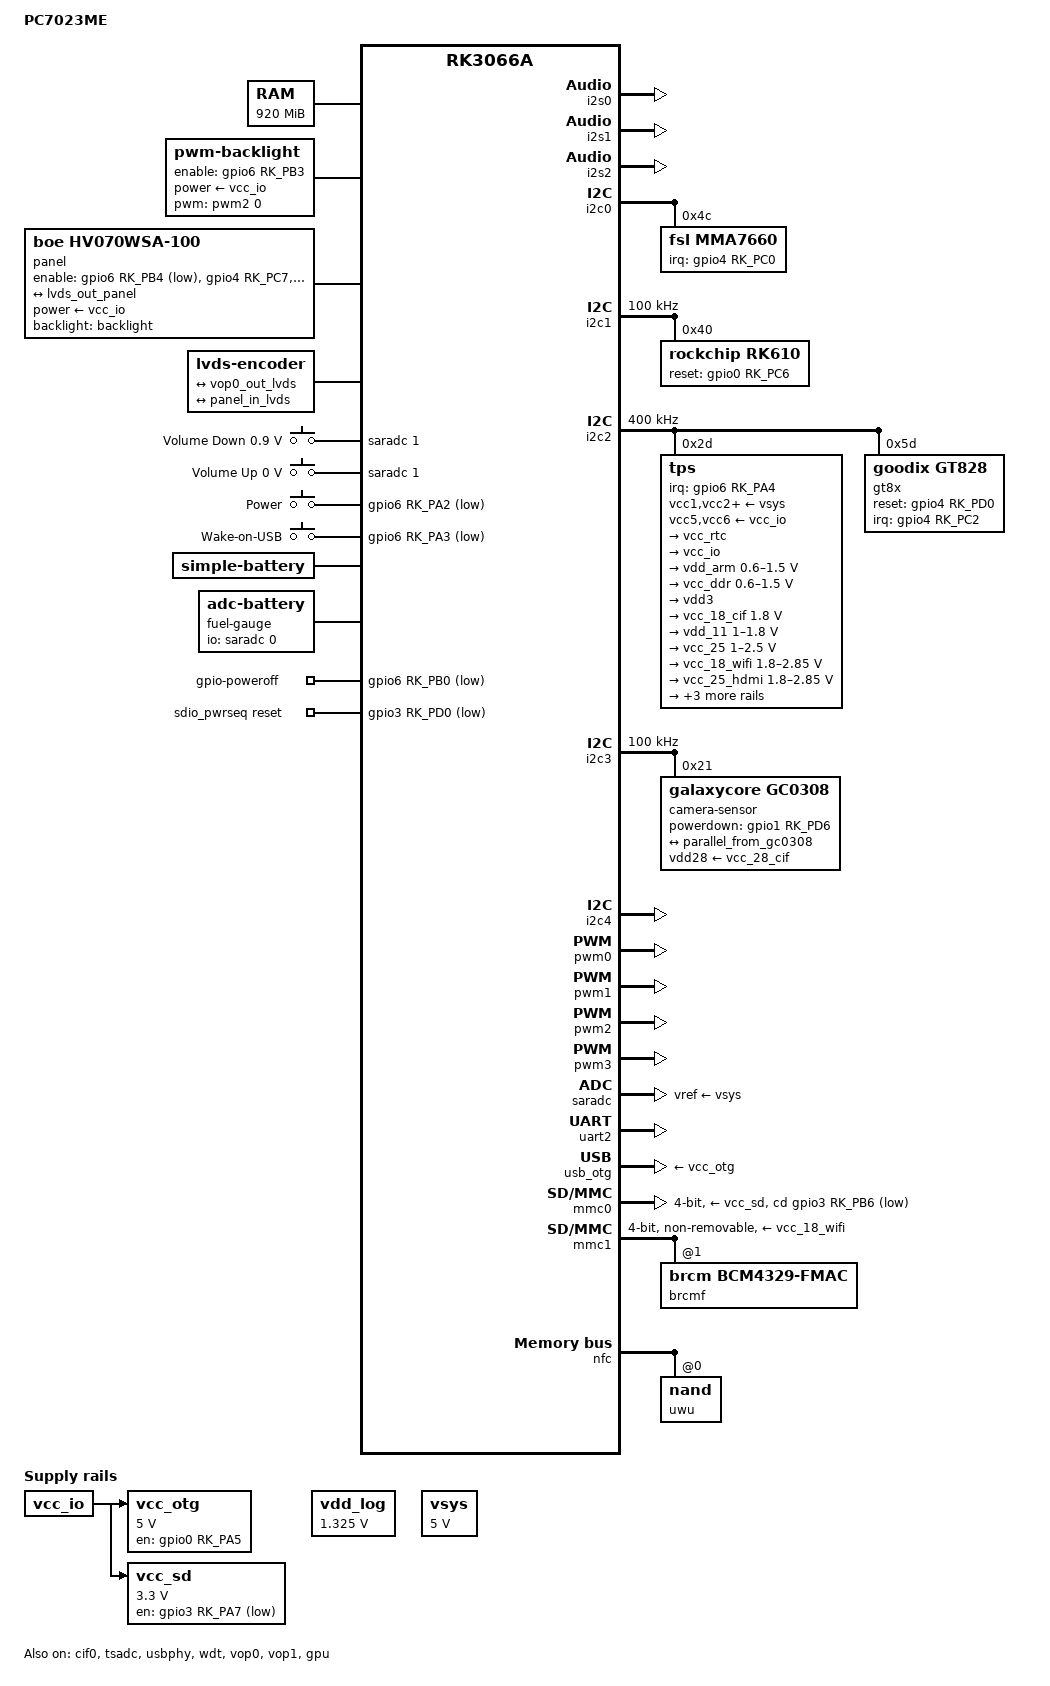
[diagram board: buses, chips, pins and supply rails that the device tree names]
// SPDX-License-Identifier: (GPL-2.0+ OR MIT)
/*
 * Copyright (c) 2024 Val Packett <val@packett.cool>
 */

/dts-v1/;
#include <dt-bindings/input/input.h>
#include <dt-bindings/gpio/gpio.h>
#include <dt-bindings/media/video-interfaces.h>
#include "rk3066a.dtsi"

/ {
	model = "PC7023ME";
	compatible = "kintech,pc7023me", "rockchip,rk3066a";
	chassis-type = "tablet";

	aliases {
		mmc0 = &mmc0;
		mmc1 = &mmc1;
	};

	memory@60000000 {
		device_type = "memory";
		// reg = <0x60000000 0x40000000>;
		reg = <0x60000000 0x39800000>;
		// reg = <0x60000000 0x39000000>;
	};

	// reserved-memory {
	// 	#address-cells = <1>;
	// 	#size-cells = <1>;
	// 	ranges;

	// 	blackhole@8f000000 {
	// 		reg = <0x8f000000 0x7800000>;
	// 		no-map;
	// 	};
	// };

	vdd_log: vdd-log {
		compatible = "pwm-regulator";
		pwms = <&pwm3 0 1000>;
		regulator-name = "vdd_log";
		regulator-always-on;
		regulator-min-microvolt = <1325000>;
		regulator-max-microvolt = <1325000>;
		voltage-table = <1000000 100>, <1200000 42>, <1250000 31>, <1300000 21>, <1325000 15>;
		//100*(1400-vol)/476
		// regulator-min-microvolt = <950000>; or 100 in android
		// regulator-max-microvolt = <1400000>;
		// pwm-dutycycle-unit = <1000>;
		// pwm-dutycycle-range = <945 0>;
		status = "okay";
	};

	// WORKS
	backlight: backlight {
		compatible = "pwm-backlight";
		power-supply = <&vcc_io>; // i guess?
		pwms = <&pwm2 0 25000>;
		enable-gpios = <&gpio6 RK_PB3 GPIO_ACTIVE_HIGH>;
		pinctrl-names = "default";
		pinctrl-0 = <&backlight_en>;
	};

	// WORKS
	panel: panel {
		compatible = "boe,hv070wsa-100";
		backlight = <&backlight>;
		power-supply = <&vcc_io>; // i guess?
		enable-gpios =
			<&gpio6 RK_PB4 GPIO_ACTIVE_LOW>,
			<&gpio4 RK_PC7 GPIO_ACTIVE_HIGH>,
			<&gpio2 RK_PC6 GPIO_ACTIVE_HIGH>;
		pinctrl-names = "default";
		pinctrl-0 = <&lcd_en &lcd_cs &lcd_stb>;
		data-mapping = "vesa-24"; // w/e
		port {
			panel_in_lvds: endpoint {
				remote-endpoint = <&lvds_out_panel>;
			};
		};
	};

	lvds-encoder {
		compatible = "lvds-encoder";

		ports {
			#address-cells = <1>;
			#size-cells = <0>;

			port@0 {
				reg = <0>;

				lvds_in_vop0: endpoint {
					remote-endpoint = <&vop0_out_lvds>;
				};
			};

			port@1 {
				reg = <1>;

				lvds_out_panel: endpoint {
					remote-endpoint = <&panel_in_lvds>;
				};
			};
		};
	};

	// WORKS
	adc-keys {
		compatible = "adc-keys";
		io-channels = <&saradc 1>;
		io-channel-names = "buttons";
		keyup-threshold-microvolt = <2500000>;
		poll-interval = <100>;

		key-volume-down {
			label = "Volume Down";
			linux,code = <KEY_VOLUMEDOWN>;
			press-threshold-microvolt = <900000>;
		};

		key-volume-up {
			label = "Volume Up";
			linux,code = <KEY_VOLUMEUP>;
			press-threshold-microvolt = <0>;
		};
	};

	// WORKS
	gpio-keys {
		compatible = "gpio-keys";

		key-power {
			gpios = <&gpio6 RK_PA2 GPIO_ACTIVE_LOW>;
			label = "Power";
			linux,code = <KEY_POWER>;
			pinctrl-names = "default";
			pinctrl-0 = <&pwr_key>;
			wakeup-source;
		};

		wake_on_usb: key-wake-on-usb {
			label = "Wake-on-USB";
			gpios = <&gpio6 RK_PA3 GPIO_ACTIVE_LOW>;
			linux,code = <KEY_WAKEUP>;
			wakeup-source;
		};
	};

	battery: battery {
		compatible = "simple-battery";
		device-chemistry = "lithium-ion";
		charge-full-design-microamp-hours = <2500000>;
		voltage-max-design-microvolt = <4150000>;
		voltage-min-design-microvolt = <3380000>;
	};

	fuel-gauge {
		compatible = "adc-battery";
		// charged-gpios = <&gpio6 RK_PA6 GPIO_ACTIVE_HIGH>; // 300k interrupts..
		io-channel-names = "voltage";
		io-channels = <&saradc 0>;
		monitored-battery = <&battery>;
		// pinctrl-names = "default";
		// pinctrl-0 = <&charged_detect>;
		// power-supplies = <&>;
	};

	// charger {
	// 	compatible = "gpio-charger";
	// 	charger-type = "usb-sdp";
	// 	gpios = <&gpio6 RK_PA5 GPIO_ACTIVE_LOW>;
	// 	// gpios = <&gpio6 RK_PA3 GPIO_ACTIVE_LOW>; // wkup..
	// 	monitored-battery = <&battery>;
	// 	pinctrl-names = "default";
	// 	pinctrl-0 = <&charger_detect>;
	// };
        // .dc_det_pin      = RK30_PIN6_PA5,
        // .dc_det_level    = GPIO_LOW,
        // .charge_ok_pin   = RK30_PIN6_PA6,
        // .charge_ok_level = GPIO_HIGH,

	// WORKS. When USB not connected lol
	gpio-poweroff {
		compatible = "gpio-poweroff";
		gpios = <&gpio6 RK_PB0 GPIO_ACTIVE_LOW>;
		pinctrl-names = "default";
		pinctrl-0 = <&pwr_hold>;
		active-delay-ms = <3000>;
	};

	// hdmi_con {
	// 	compatible = "hdmi-connector";
	// 	type = "c";
	// 	port {
	// 		hdmi_con_in: endpoint {
	// 			remote-endpoint = <&hdmi_out_con>;
	// 		};
	// 	};
	// };

	// from mk808
	vcc_otg: usb-otg-regulator {
		compatible = "regulator-fixed";
		enable-active-high;
		gpio = <&gpio0 RK_PA5 GPIO_ACTIVE_HIGH>;
		pinctrl-0 = <&otg_drv>;
		pinctrl-names = "default";
		// regulator-always-on;
		regulator-name = "vcc_otg";
		regulator-min-microvolt = <5000000>;
		regulator-max-microvolt = <5000000>;
		startup-delay-us = <100000>;
		vin-supply = <&vcc_io>;
	};

	vcc_sd: sdmmc-regulator {
		compatible = "regulator-fixed";
		gpio = <&gpio3 RK_PA7 GPIO_ACTIVE_LOW>;
		pinctrl-names = "default";
		pinctrl-0 = <&sdmmc_pwr>;
		regulator-name = "vcc_sd";
		regulator-min-microvolt = <3300000>;
		regulator-max-microvolt = <3300000>;
		startup-delay-us = <100000>;
		vin-supply = <&vcc_io>;
	};

	vsys: vsys-regulator {
		compatible = "regulator-fixed";
		regulator-name = "vsys";
		regulator-min-microvolt = <5000000>;
		regulator-max-microvolt = <5000000>;
		regulator-boot-on;
	};

	sdio_pwrseq: sdio-pwrseq {
		compatible = "mmc-pwrseq-simple";
		pinctrl-names = "default";
		pinctrl-0 = <&wifi_pwr>;
		reset-gpios = <&gpio3 RK_PD0 GPIO_ACTIVE_LOW>;
	};
};

&cpu0 {
	cpu-supply = <&vdd_arm>;
	// vcc1-supply = <&vdd_log>; // TODO write drivers/cpufreq/ti-cpufreq.c style driver
};

&cpu1 {
	cpu-supply = <&vdd_arm>;
};

// reqd for rk610 at all?
&i2s0 {
	status = "okay";
};
&i2s1 {
	status = "okay";
};
&i2s2 {
	status = "okay";
};

&i2c0 {
	status = "okay";

	mma7660: accelerometer@4c {
		reg = <0x4c>;
		compatible = "fsl,mma7660";
		interrupt-parent = <&gpio4>;
		interrupts = <RK_PC0 IRQ_TYPE_EDGE_RISING>;
		pinctrl-names = "default";
		pinctrl-0 = <&gsensor_int>;
		mount-matrix = "1",  "0", "0",
		               "0", "-1", "0",
		               "0",  "0", "1";
	};
};

&i2c1 {
	status = "okay";
	clock-frequency = <100000>;
	// 30: axp15_mfd ----- others
	// 34: wm8326 ----- others
	// 40: rk610_ctl
	rk610: rk610@40 {
		reg = <0x40>;
		compatible = "rockchip,rk610";
		// enable-gpios = <&gpio0 RK_PC6 GPIO_ACTIVE_HIGH>;
		reset-gpios = <&gpio0 RK_PC6 GPIO_ACTIVE_HIGH>;
		pinctrl-names = "default";
		pinctrl-0 = <&rk610_rst>;
	};
	// 60: rk610_i2c_codec
};

&i2c2 {
	status = "okay";
	clock-frequency = <400000>;

	tps: tps@2d {
		reg = <0x2d>;

		interrupt-parent = <&gpio6>;
		interrupts = <RK_PA4 IRQ_TYPE_LEVEL_LOW>; // IRQ_TYPE_EDGE_RISING
		#interrupt-cells = <2>;
		interrupt-controller;
		pinctrl-names = "default";
		pinctrl-0 = <&pmic_int>;
		ti,system-power-controller;

		vcc1-supply = <&vsys>;
		vcc2-supply = <&vsys>;
		vcc3-supply = <&vsys>;
		vcc4-supply = <&vsys>;
		vcc5-supply = <&vcc_io>;
		vcc6-supply = <&vcc_io>;
		vcc7-supply = <&vsys>;
		vccio-supply = <&vsys>;

		regulators {
			vcc_rtc: regulator@0 {
				regulator-name = "vcc_rtc";
				regulator-always-on;
			};

			vcc_io: regulator@1 {
				regulator-name = "vcc_io";
				regulator-always-on;
			};

			vdd_arm: regulator@2 { // vdd1 smps1
				regulator-name = "vdd_arm";
				regulator-min-microvolt = <600000>;
				regulator-max-microvolt = <1500000>;
				regulator-boot-on;
				regulator-always-on;
			};

			vcc_ddr: regulator@3 { // vdd2 smps2
				regulator-name = "vcc_ddr";
				regulator-min-microvolt = <600000>;
				regulator-max-microvolt = <1500000>;
				regulator-boot-on;
				regulator-always-on;
			};

			// 5V, no minmax 0.o wait, vbus otg?
			vdd3: regulator@4 { // vdd3 smps3
				regulator-name = "vdd3";
				regulator-always-on;
			};

			vcc_18_cif: regulator@5 { // vdig1 ldo1
				regulator-name = "vcc_18_cif";
				regulator-min-microvolt = <1800000>;
				regulator-max-microvolt = <1800000>;
				regulator-always-on;
			};

			vdd_11: regulator@6 { // vdig2 ldo2
				regulator-name = "vdd_11";
				regulator-min-microvolt = <1000000>; // XXX: was 1100000
				// 1.1v android
				regulator-max-microvolt = <1800000>; // XXX: was 1100000
				regulator-always-on;
			};

			vcc_25: regulator@7 { // vpll ldo8
				regulator-name = "vcc_25";
				regulator-min-microvolt = <1000000>;
				regulator-max-microvolt = <2500000>;
				regulator-always-on;
			};

			vcc_18_wifi: regulator@8 { // vdac ldo7
				regulator-name = "vcc_18_wifi";
				regulator-min-microvolt = <1800000>;
				regulator-max-microvolt = <2850000>;
			};

			vcc_25_hdmi: regulator@9 { // vaux1 ldo3
				regulator-name = "vcc_25_hdmi";
				regulator-min-microvolt = <1800000>;
				// 2.5v yea
				regulator-max-microvolt = <2850000>;
				regulator-always-on; // used by rk610!
			};

			vcca_33: regulator@10 { // vaux2 ldo4
				regulator-name = "vcca_33";
				// regulator-min-microvolt = <1800000>; // was 
				regulator-min-microvolt = <3300000>;
				regulator-max-microvolt = <3300000>;
				regulator-always-on;
			};

			vcc_tp: regulator@11 { // vaux33
				regulator-name = "vcc_tp";
				regulator-min-microvolt = <1800000>;
				//  3.3 android
				regulator-max-microvolt = <3300000>;
				regulator-always-on;
			};

			vcc_28_cif: regulator@12 { // vmmc ldo6
				regulator-name = "vcc_28_cif";
				regulator-min-microvolt = <2800000>;
				regulator-max-microvolt = <2800000>;
				regulator-always-on;
			};
		};
	};

	gt8x: touchscreen@5d {
		compatible = "goodix,gt828";
		reg = <0x5d>;
		interrupt-parent = <&gpio4>;
		interrupts = <RK_PC2 IRQ_TYPE_EDGE_FALLING>;
		// irq-gpios = <&gpio4 RK_PC2 GPIO_ACTIVE_HIGH>;
		reset-gpios = <&gpio4 RK_PD0 GPIO_ACTIVE_HIGH>;
		pinctrl-names = "default";
		pinctrl-0 = <&touch_irq &touch_reset>;
		// touchscreen-min-x = <460>;
		// touchscreen-size-x = <1576>;
		// touchscreen-min-y = <7>;
		// touchscreen-size-y = <1929>;
		touchscreen-swapped-x-y;
		touchscreen-inverted-x;
		touchscreen-inverted-y;
	};
};

/* must be included after &tps gets defined */
#include "../tps65910.dtsi"

&i2c3 {
	status = "okay";
	// clock-frequency = <400000>;
	clock-frequency = <100000>;
	// 250000 ??

	// [    1.705566] TOOL_CAM tool_set_platfrom : name=gc0308_front,PDN=222,flag=0x4,ori=270,addr=0x21,bus_id=33
	camera-sensor@21 {
		compatible = "galaxycore,gc0308";
		reg = <0x21>;
		clocks = <&cru SCLK_CIF0>;
		assigned-clocks = <&cru SCLK_CIF0>;
		assigned-clock-rates = <24000000>;
		powerdown-gpios = <&gpio1 RK_PD6 GPIO_ACTIVE_HIGH>;
		vdd28-supply = <&vcc_28_cif>;
		pinctrl-names = "default";
		pinctrl-0 = <&gc0308_powerdown>;

		orientation = <0>;
		rotation = <270>;

		port {
			gc0308_ep: endpoint {
				remote-endpoint = <&parallel_from_gc0308>;
				bus-width = <8>;
				data-shift = <2>; /* lines 9:2 are used */
				hsync-active = <1>;
				vsync-active = <0>;
				data-active = <1>;
				pclk-sample = <1>; /* sample on rising edge */
			};
		};
	};

	// 30: sp2518 back camera (no driver)
	// [    1.751567] TOOL_CAM tool_set_platfrom : name=sp2518_back_2,PDN=207,flag=0x4,ori=90,addr=0x30,bus_id=33
	// 1PB7 fr
};

&cif0 {
	status = "okay";
};

&cif1 {
// 	status = "okay";
};

&cif0_in {
	parallel_from_gc0308: endpoint {
		bus-type = <MEDIA_BUS_TYPE_PARALLEL>;
		remote-endpoint = <&gc0308_ep>;
	};
};

&i2c4 {
	status = "okay";
};


&pinctrl {
	pcfg_output_high: pcfg-output-high {
		output-high;
	};

	pcfg_pull_up: pcfg-pull-up {
		bias-pull-up;
	};

	usb-otg {
		otg_drv: otg-drv {
			rockchip,pins = <0 RK_PA5 RK_FUNC_GPIO &pcfg_output_high>;
		};
	};

	charger {
		charger_detect: charger-detect {
			rockchip,pins = <6 RK_PA5 RK_FUNC_GPIO &pcfg_pull_up>;
		};
		charged_detect: charged-detect {
			rockchip,pins = <6 RK_PA6 RK_FUNC_GPIO &pcfg_pull_default>;
		};
	};

	camera {
		gc0308_powerdown: gc0308-powerdown {
			rockchip,pins = <1 RK_PD6 RK_FUNC_GPIO &pcfg_pull_none>;
		};

		sp2518_powerdown: sp2518-powerdown {
			rockchip,pins = <1 RK_PB7 RK_FUNC_GPIO &pcfg_pull_none>;
		};
	};

	backlight {
		backlight_en: backlight-en {
			rockchip,pins = <6 RK_PB3 RK_FUNC_GPIO &pcfg_output_high>;
		};
	};

	lcd {
		lcd_en: lcd-en {
			rockchip,pins = <6 RK_PB4 RK_FUNC_GPIO &pcfg_pull_none>;
		};
		lcd_cs: lcd-cs {
			rockchip,pins = <4 RK_PC7 RK_FUNC_GPIO &pcfg_pull_none>;
		};
		lcd_stb: lcd-stb {
			rockchip,pins = <2 RK_PC6 RK_FUNC_GPIO &pcfg_pull_none>;
		};
	};

	touch {
		touch_irq: touch-irq {
			rockchip,pins = <4 RK_PC2 RK_FUNC_GPIO &pcfg_pull_default>;
		};
		touch_reset: touch-reset {
			rockchip,pins = <4 RK_PD0 RK_FUNC_GPIO &pcfg_pull_none>;
		};
	};

	rk610 {
		rk610_rst: rk610-rst {
			rockchip,pins = <0 RK_PC6 RK_FUNC_GPIO &pcfg_pull_default>;
		};
	};

	keys {
		pwr_key: pwr-key {
			rockchip,pins = <6 RK_PA2 RK_FUNC_GPIO &pcfg_pull_default>;
		};
	};

	mma8452 {
		gsensor_int: gsensor-int {
			rockchip,pins = <4 RK_PC0 RK_FUNC_GPIO &pcfg_pull_default>;
		};
	};

	sdmmc {
		sdmmc_pwr: sdmmc-pwr {
			rockchip,pins = <3 RK_PA7 RK_FUNC_GPIO &pcfg_pull_default>;
		};
	};

	sdio {
		wifi_pwr: wifi-pwr {
			rockchip,pins = <3 RK_PD0 RK_FUNC_GPIO &pcfg_pull_none>;
		};
		wifi_rst: wifi-rst {
			rockchip,pins = <2 RK_PA7 RK_FUNC_GPIO &pcfg_pull_none>;
		};
		wifi_host_wake: wifi-host-wake {
			rockchip,pins = <3 RK_PD2 RK_FUNC_GPIO &pcfg_pull_none>;
		};
	};

	tps {
		pmic_int: pmic-int {
			rockchip,pins = <6 RK_PA4 RK_FUNC_GPIO &pcfg_pull_default>;
		};

		pwr_hold: pwr-hold {
			rockchip,pins = <6 RK_PB0 RK_FUNC_GPIO &pcfg_pull_default>;
		};
	};
};

&pwm0 {
	status = "okay";
};

&pwm1 {
	status = "okay";
};

&pwm2 {
	status = "okay";
};

&pwm3 {
	status = "okay";
};

&saradc {
	vref-supply = <&vsys>;
	status = "okay";
};

&tsadc {
	vref-supply = <&vsys>;
	status = "okay";
};

// &uart1 {
// 	pinctrl-names = "default";
// 	pinctrl-0 = <&uart1_xfer>, <&uart1_cts>, <&uart1_rts>;
// 	status = "okay";
// };

&uart2 {
	status = "okay";
};

// &uart3 {
// 	status = "okay";
// };

&usbphy {
	status = "okay";
};

&usb_otg {
	status = "okay";
	// vbus-supply = <&vdd3>;
	vbus-supply = <&vcc_otg>;
};

&wdt {
	status = "okay";
};

&mmc0 {
	bus-width = <4>;
	cap-mmc-highspeed;
	cap-sd-highspeed;
	card-detect-delay = <400>;
	cd-gpios = <&gpio3 RK_PB6 GPIO_ACTIVE_LOW>;
	vmmc-supply = <&vcc_sd>;
	status = "okay";
};

&mmc1 {
	bus-width = <4>;
	cap-sd-highspeed;
	cap-sdio-irq;
	keep-power-in-suspend;
	non-removable;
	pinctrl-0 = <&sd1_clk &sd1_cmd &sd1_bus4>;
	pinctrl-names = "default";
	max-frequency = <150000000>;
	mmc-pwrseq = <&sdio_pwrseq>;
	vmmc-supply = <&vcc_18_wifi>;
	#address-cells = <1>;
	#size-cells = <0>;
	status = "okay";
	sd-uhs-ddr50;
	sd-uhs-sdr104;

	brcmf: wifi@1 {
		compatible = "brcm,bcm4329-fmac";
		reg = <1>;
		// brcm,drive-strength = <5>;
		// interrupt-parent = <&gpio3>;
		// interrupts = <RK_PD2 IRQ_TYPE_LEVEL_HIGH>;
		// interrupt-names = "host-wake";
		// pinctrl-names = "default";
		// pinctrl-0 = <&wifi_host_wake>;
	};
};

&nfc {
	#address-cells = <1>;
	#size-cells = <0>;
	// status = "okay";
	nand@0 {
		// Flash Size: 8192MB // Block Size: 4096KB // Page Size: 16KB // ECC Bits: 40 // Access Time: 30 // Flash CS: <0> <1>
		reg = <0>, <1>;
		// label = "rk29xxnand"; TODO when works
		label = "uwu";
		nand-bus-width = <8>;
		nand-ecc-mode = "hw";
		nand-ecc-step-size = <1024>;
		nand-ecc-strength = <40>;
		nand-is-boot-medium;
		rockchip,boot-blks = <8>;
		rockchip,boot-ecc-strength = <24>;
	};
};

// &hdmi {
// 	status = "okay";
// };

// &hdmi_in_vop0 {
// 	status = "disabled";
// };

// &hdmi_out {
// 	hdmi_out_con: endpoint {
// 		remote-endpoint = <&hdmi_con_in>;
// 	};
// };

&vop0 {
	status = "okay";
};

&vop0_out {
	vop0_out_lvds: endpoint {
		remote-endpoint = <&lvds_in_vop0>;
	};
};

// def vop0, got interrupts in dmesg in android while vop1 got 0
// &vop0_out_hdmi {
// 	status = "okay";
// 	remote-endpoint = <&panel_ep>;
// };

&vop1 {
	status = "okay";
};

// &vop1_out {
// 	vop1_out_rk610: endpoint@1 {
// 		reg = <1>;
// 		remote-endpoint = <&panel_ep>;
// 	};
// };

&vop1_out_hdmi {
	status = "disabled";
};

&gpu {
	mali-supply = <&vdd_arm>;
	status = "okay";
};

// on boot 0 to gpio2 pa2
